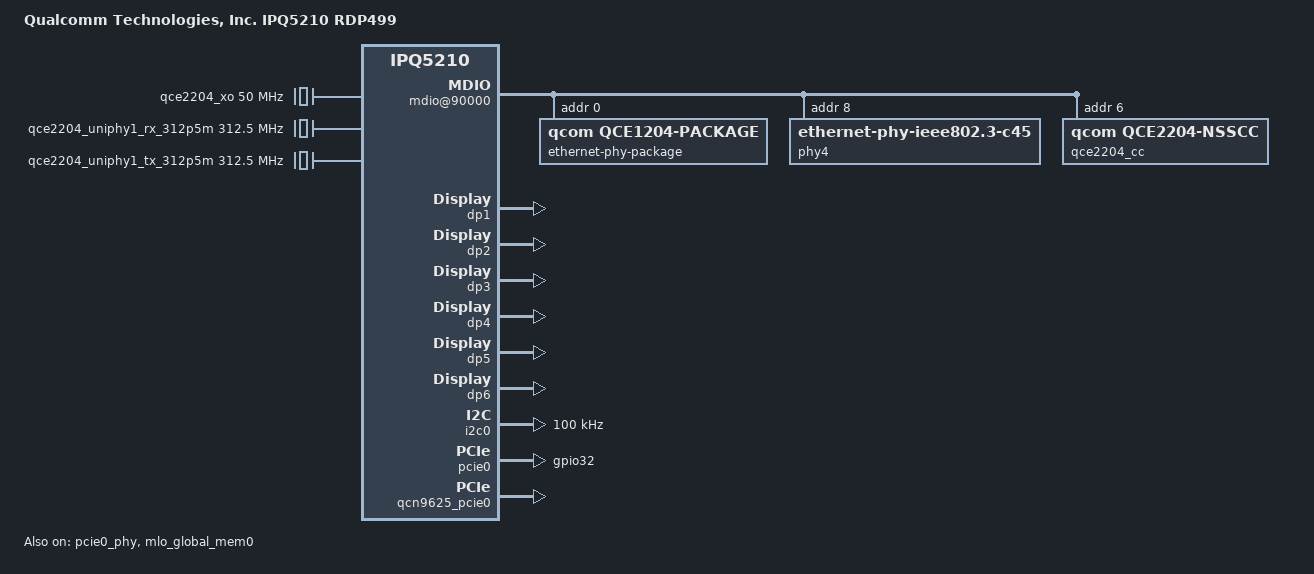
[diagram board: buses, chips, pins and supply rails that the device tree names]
// SPDX-License-Identifier: (GPL-2.0+ OR BSD-3-Clause)
/*
 * IPQ5210 RDP499 board device tree source
 *
 * Copyright (c) 2020-2021 The Linux Foundation. All rights reserved.
 * Copyright (c) Qualcomm Technologies, Inc. and/or its subsidiaries.
 */

/dts-v1/;

#include "ipq5210-rdp-common.dtsi"
#include <dt-bindings/clock/qcom,qce2204-nsscc.h>
#include <dt-bindings/reset/qcom,qce2204-nsscc.h>
#ifdef __IPQ_MEM_PROFILE_512_MB__
#include "ipq5210-512MB-default-memory.dtsi"
#else
#include "ipq5210-default-memory.dtsi"
#endif

/ {
	model = "Qualcomm Technologies, Inc. IPQ5210 RDP499";
	compatible = "qcom,ipq5210-rdp499", "qcom,ipq5210";

	aliases {
		serial0 = &uart1;
		ethernet0 = "/soc/dp1";
		ethernet1 = "/soc/dp2";
		ethernet2 = "/soc/dp3";
		ethernet3 = "/soc/dp4";
		ethernet4 = "/soc/dp5";
		ethernet5 = "/soc/dp6";
	};

	clocks {
		qce2204_xo: qce2204-xo {
			compatible = "fixed-clock";
			clock-frequency = <50000000>;
			#clock-cells = <0>;
		};

		qce2204_uniphy1_rx_312p5m: qce2204-uniphy1-rx-312p5m {
			compatible = "fixed-clock";
			clock-frequency = <312500000>;
			#clock-cells = <0>;
		};

		qce2204_uniphy1_tx_312p5m: qce2204-uniphy1-tx-312p5m {
			compatible = "fixed-clock";
			clock-frequency = <312500000>;
			#clock-cells = <0>;
		};
	};

	soc@0 {
		mdio@90000 {
			status = "okay";
			/* gpio reset for PHYs */
			phy-reset-gpio = <
				&tlmm 24 GPIO_ACTIVE_LOW
				&tlmm 45 GPIO_ACTIVE_LOW
			>;
			ethernet-phy-package@0 {
				compatible = "qcom,qce1204-package";
				#address-cells = <1>;
				#size-cells = <0>;
				reg = <0>;
				qcom,package-mode = "qusgmii";
				clocks =<&qce2204_cc QCE2204_NSSCC_SRDS1_SYS_CLK>,
					<&qce2204_cc QCE2204_NSSCC_MAC1_SRDS1_CH0_TX_CLK>,
					<&qce2204_cc QCE2204_NSSCC_MAC1_SRDS1_CH0_RX_CLK>,
					<&qce2204_cc QCE2204_NSSCC_MAC0_1_SRDS1_CH0_XGMII_TX_CLK>,
					<&qce2204_cc QCE2204_NSSCC_MAC0_1_SRDS1_CH0_XGMII_RX_CLK>,
					<&qce2204_cc QCE2204_NSSCC_MAC2_SRDS1_CH1_TX_CLK>,
					<&qce2204_cc QCE2204_NSSCC_MAC2_SRDS1_CH1_RX_CLK>,
					<&qce2204_cc QCE2204_NSSCC_MAC2_SRDS1_CH1_XGMII_TX_CLK>,
					<&qce2204_cc QCE2204_NSSCC_MAC2_SRDS1_CH1_XGMII_RX_CLK>,
					<&qce2204_cc QCE2204_NSSCC_MAC3_SRDS1_CH2_TX_CLK>,
					<&qce2204_cc QCE2204_NSSCC_MAC3_SRDS1_CH2_RX_CLK>,
					<&qce2204_cc QCE2204_NSSCC_MAC3_SRDS1_CH2_XGMII_TX_CLK>,
					<&qce2204_cc QCE2204_NSSCC_MAC3_SRDS1_CH2_XGMII_RX_CLK>,
					<&qce2204_cc QCE2204_NSSCC_MAC4_SRDS1_CH3_TX_CLK>,
					<&qce2204_cc QCE2204_NSSCC_MAC4_SRDS1_CH3_RX_CLK>,
					<&qce2204_cc QCE2204_NSSCC_MAC4_SRDS1_CH3_XGMII_TX_CLK>,
					<&qce2204_cc QCE2204_NSSCC_MAC4_SRDS1_CH3_XGMII_RX_CLK>,
					<&qce2204_cc QCE2204_NSSCC_AHB_CLK>,
					<&qce2204_uniphy1_rx_312p5m>,
					<&qce2204_uniphy1_tx_312p5m>;
				clock-names = "pcs_sys_clk",
					      "ch0_gmii_tx_clk",
					      "ch0_gmii_rx_clk",
					      "ch0_xgmii_tx_clk",
					      "ch0_xgmii_rx_clk",
					      "ch1_gmii_tx_clk",
					      "ch1_gmii_rx_clk",
					      "ch1_xgmii_tx_clk",
					      "ch1_xgmii_rx_clk",
					      "ch2_gmii_tx_clk",
					      "ch2_gmii_rx_clk",
					      "ch2_xgmii_tx_clk",
					      "ch2_xgmii_rx_clk",
					      "ch3_gmii_tx_clk",
					      "ch3_gmii_rx_clk",
					      "ch3_xgmii_tx_clk",
					      "ch3_xgmii_rx_clk",
					      "ahb_clk",
					      "tx_parent",
					      "rx_parent";
				resets = <&qce2204_cc QCE2204_NSSCC_SRDS1_SYS_ARES>,
					 <&qce2204_cc QCE2204_NSSCC_MAC1_SRDS1_CH0_TX_ARES>,
					 <&qce2204_cc QCE2204_NSSCC_MAC1_SRDS1_CH0_RX_ARES>,
					 <&qce2204_cc QCE2204_NSSCC_MAC0_1_SRDS1_CH0_XGMII_TX_ARES>,
					 <&qce2204_cc QCE2204_NSSCC_MAC0_1_SRDS1_CH0_XGMII_RX_ARES>,
					 <&qce2204_cc QCE2204_NSSCC_MAC2_SRDS1_CH1_TX_ARES>,
					 <&qce2204_cc QCE2204_NSSCC_MAC2_SRDS1_CH1_RX_ARES>,
					 <&qce2204_cc QCE2204_NSSCC_MAC2_SRDS1_CH1_XGMII_TX_ARES>,
					 <&qce2204_cc QCE2204_NSSCC_MAC2_SRDS1_CH1_XGMII_RX_ARES>,
					 <&qce2204_cc QCE2204_NSSCC_MAC3_SRDS1_CH2_TX_ARES>,
					 <&qce2204_cc QCE2204_NSSCC_MAC3_SRDS1_CH2_RX_ARES>,
					 <&qce2204_cc QCE2204_NSSCC_MAC3_SRDS1_CH2_XGMII_TX_ARES>,
					 <&qce2204_cc QCE2204_NSSCC_MAC3_SRDS1_CH2_XGMII_RX_ARES>,
					 <&qce2204_cc QCE2204_NSSCC_MAC4_SRDS1_CH3_TX_ARES>,
					 <&qce2204_cc QCE2204_NSSCC_MAC4_SRDS1_CH3_RX_ARES>,
					 <&qce2204_cc QCE2204_NSSCC_MAC4_SRDS1_CH3_XGMII_TX_ARES>,
					 <&qce2204_cc QCE2204_NSSCC_MAC4_SRDS1_CH3_XGMII_RX_ARES>,
					 <&qce2204_cc QCE2204_NSSCC_SRDS1_XPCS_ARES>;
				reset-names = "pcs_sys_reset",
					      "ch0_gmii_tx_reset",
					      "ch0_gmii_rx_reset",
					      "ch0_xgmii_tx_reset",
					      "ch0_xgmii_rx_reset",
					      "ch1_gmii_tx_reset",
					      "ch1_gmii_rx_reset",
					      "ch1_xgmii_tx_reset",
					      "ch1_xgmii_rx_reset",
					      "ch2_gmii_tx_reset",
					      "ch2_gmii_rx_reset",
					      "ch2_xgmii_tx_reset",
					      "ch2_xgmii_rx_reset",
						  "ch3_gmii_tx_reset",
					      "ch3_gmii_rx_reset",
					      "ch3_xgmii_tx_reset",
					      "ch3_xgmii_rx_reset",
					      "xpcs";

				phy0: ethernet-phy@0 {
					compatible = "ethernet-phy-ieee802.3-c45";
					reg = <0x0>;
					clocks = <&qce2204_cc QCE2204_NSSCC_MAC1_GEPHY0_TX_CLK>,
						 <&qce2204_cc QCE2204_NSSCC_MAC1_GEPHY0_RX_CLK>,
						 <&qce2204_cc QCE2204_NSSCC_GEPHY0_SYS_CLK>,
						 <&qce2204_cc QCE2204_NSSCC_MAC1_TX_CLK_SRC>,
						 <&qce2204_cc QCE2204_NSSCC_MAC1_RX_CLK_SRC>;
					clock-names = "tx_clk",
						      "rx_clk",
						      "sys_clk",
						      "tx_src_clk",
						      "rx_src_clk";
					resets = <&qce2204_cc QCE2204_NSSCC_MAC1_GEPHY0_TX_ARES>,
						 <&qce2204_cc QCE2204_NSSCC_MAC1_GEPHY0_RX_ARES>,
						 <&qce2204_cc QCE2204_NSSCC_GEPHY0_SYS_ARES>;
					reset-names = "tx_reset",
						      "rx_reset",
						      "sys_reset";
				};

				phy1: ethernet-phy@1 {
					compatible = "ethernet-phy-ieee802.3-c45";
					reg = <0x1>;
					clocks = <&qce2204_cc QCE2204_NSSCC_MAC2_GEPHY1_TX_CLK>,
						 <&qce2204_cc QCE2204_NSSCC_MAC2_GEPHY1_RX_CLK>,
						 <&qce2204_cc QCE2204_NSSCC_GEPHY1_SYS_CLK>,
						 <&qce2204_cc QCE2204_NSSCC_MAC2_TX_CLK_SRC>,
						 <&qce2204_cc QCE2204_NSSCC_MAC2_RX_CLK_SRC>;
					clock-names = "tx_clk",
						      "rx_clk",
						      "sys_clk",
						      "tx_src_clk",
						      "rx_src_clk";
					resets = <&qce2204_cc QCE2204_NSSCC_MAC2_GEPHY1_TX_ARES>,
						 <&qce2204_cc QCE2204_NSSCC_MAC2_GEPHY1_RX_ARES>,
						 <&qce2204_cc QCE2204_NSSCC_GEPHY1_SYS_ARES>;
					reset-names = "tx_reset",
						      "rx_reset",
						      "sys_reset";
				};

				phy2: ethernet-phy@2 {
					compatible = "ethernet-phy-ieee802.3-c45";
					reg = <0x2>;
					clocks = <&qce2204_cc QCE2204_NSSCC_MAC3_GEPHY2_TX_CLK>,
						 <&qce2204_cc QCE2204_NSSCC_MAC3_GEPHY2_RX_CLK>,
						 <&qce2204_cc QCE2204_NSSCC_GEPHY2_SYS_CLK>,
						 <&qce2204_cc QCE2204_NSSCC_MAC3_TX_CLK_SRC>,
						 <&qce2204_cc QCE2204_NSSCC_MAC3_RX_CLK_SRC>;
					clock-names = "tx_clk",
						      "rx_clk",
						      "sys_clk",
						      "tx_src_clk",
						      "rx_src_clk";
					resets = <&qce2204_cc QCE2204_NSSCC_MAC3_GEPHY2_TX_ARES>,
						 <&qce2204_cc QCE2204_NSSCC_MAC3_GEPHY2_RX_ARES>,
						 <&qce2204_cc QCE2204_NSSCC_GEPHY2_SYS_ARES>;
					reset-names = "tx_reset",
						      "rx_reset",
						      "sys_reset";
				};

				phy3: ethernet-phy@3 {
					compatible = "ethernet-phy-ieee802.3-c45";
					reg = <0x3>;
					clocks = <&qce2204_cc QCE2204_NSSCC_MAC4_GEPHY3_TX_CLK>,
						 <&qce2204_cc QCE2204_NSSCC_MAC4_GEPHY3_RX_CLK>,
						 <&qce2204_cc QCE2204_NSSCC_GEPHY3_SYS_CLK>,
						 <&qce2204_cc QCE2204_NSSCC_MAC4_TX_CLK_SRC>,
						 <&qce2204_cc QCE2204_NSSCC_MAC4_RX_CLK_SRC>;
					clock-names = "tx_clk",
						      "rx_clk",
						      "sys_clk",
						      "tx_src_clk",
						      "rx_src_clk";
					resets = <&qce2204_cc QCE2204_NSSCC_MAC4_GEPHY3_TX_ARES>,
						 <&qce2204_cc QCE2204_NSSCC_MAC4_GEPHY3_RX_ARES>,
						 <&qce2204_cc QCE2204_NSSCC_GEPHY3_SYS_ARES>;
					reset-names = "tx_reset",
						      "rx_reset",
						      "sys_reset";
				};
			};

			phy4: ethernet-phy@8 {
				reg = <8>;
				compatible ="ethernet-phy-ieee802.3-c45";
			};

			/* Clock controller */
			qce2204_cc: clock-controller@6 {
				compatible = "qcom,qce2204-nsscc";
				reg = <6>;
				#clock-cells = <1>;
				#reset-cells = <1>;
				clocks = <&qce2204_xo>,
					 <0>,
					 <0>,
					 <0>,
					 <0>,
					 <0>,
					 <0>,
					 <0>,
					 <&qce2204_uniphy1_rx_312p5m>,
					 <&qce2204_uniphy1_tx_312p5m>;
				clock-names = "xo",
					      "uniphy0_rx",
					      "uniphy0_tx",
					      "uniphy1_rx",
					      "uniphy1_tx",
					      "uniphy1_ppe_250m",
					      "uniphy0_rx_312p5m",
					      "uniphy0_tx_312p5m",
					      "uniphy1_rx_312p5m",
					      "uniphy1_tx_312p5m";
				assigned-clocks = <&qce2204_cc QCE2204_NSSCC_SRDS1_RX_MUX_SEL>,
						  <&qce2204_cc QCE2204_NSSCC_SRDS1_TX_MUX_SEL>,
						  <&qce2204_cc QCE2204_NSSCC_SRDS1_XGMII_RX_MUX_SEL>,
						  <&qce2204_cc QCE2204_NSSCC_SRDS1_XGMII_TX_MUX_SEL>;
				assigned-clock-parents = <&qce2204_cc QCE2204_NSSCC_MAC1_TX_DIV_CLK_SRC>,
							 <&qce2204_cc QCE2204_NSSCC_MAC1_RX_DIV_CLK_SRC>,
							 <&qce2204_cc QCE2204_NSSCC_MAC1_SRDS1_CH0_XGMII_RX_DIV_CLK_SRC>,
							 <&qce2204_cc QCE2204_NSSCC_MAC1_SRDS1_CH0_XGMII_TX_DIV_CLK_SRC>;
			};
		};

		ess-instance {
			num_devices = <0x1>;

			ess_switch: ess-switch@3a000000 {
				switch_lan_bmp = <0x3e>; /* lan port bitmap */
				switch_wan_bmp = <0x40>; /* wan port bitmap */
				switch_mac_mode = <0x15>; /* UQXGMII for qce1204 PHY */
				switch_mac_mode1 = <0xd>; /* USXGMII for Laguna PHY */
				switch_mac_mode2 = <0xff>;

				qcom,port_phyinfo {
					port@0 {
						port_id = <1>;
						phy_address = <0>;
						phy-handle = <&phy0>;
						phy-mode = "qusgmii";
						port_mac_sel = "QGMAC_PORT";
						ethernet-phy-ieee802.3-c45;
					};
					port@1 {
						port_id = <2>;
						phy_address = <1>;
						phy-handle = <&phy1>;
						phy-mode = "qusgmii";
						port_mac_sel = "QGMAC_PORT";
						ethernet-phy-ieee802.3-c45;
					};
					port@2 {
						port_id = <3>;
						phy_address = <2>;
						phy-handle = <&phy2>;
						phy-mode = "qusgmii";
						port_mac_sel = "QGMAC_PORT";
						ethernet-phy-ieee802.3-c45;
					};
					port@3 {
						port_id = <4>;
						phy_address = <3>;
						phy-handle = <&phy3>;
						phy-mode = "qusgmii";
						port_mac_sel = "QGMAC_PORT";
						ethernet-phy-ieee802.3-c45;
					};
					port@4 {
						port_id = <5>;
						phy_address = <8>;
						phy-handle = <&phy4>;
						phy-mode = "usxgmii";
						ethernet-phy-ieee802.3-c45;
					};
					port@5 {
						port_id = <6>;
						forced-speed = <10000>;
						forced-duplex = <1>;
						fixed-link {
							speed = <10000>;
							full-duplex;
							pause;
						};
					};
				};
			};
		};

		dp1 {
			device_type = "network";
			compatible = "qcom,nss-dp";
			qcom,id = <1>;
			reg = <0x3a001000 0x200>;
			qcom,mactype = <0>;
			local-mac-address = [000000000000];
			qcom,ppe-offload-disabled = <0>;
		};

		dp2 {
			device_type = "network";
			compatible = "qcom,nss-dp";
			qcom,id = <2>;
			reg = <0x3a001200 0x200>;
			qcom,mactype = <0>;
			local-mac-address = [000000000000];
			qcom,ppe-offload-disabled = <0>;
		};


		dp3 {
			device_type = "network";
			compatible = "qcom,nss-dp";
			qcom,id = <3>;
			reg = <0x3a001400 0x200>;
			qcom,mactype = <0>;
			local-mac-address = [000000000000];
			qcom,ppe-offload-disabled = <0>;
		};

		dp4 {
			device_type = "network";
			compatible = "qcom,nss-dp";
			qcom,id = <4>;
			reg = <0x3a001600 0x200>;
			qcom,mactype = <0>;
			local-mac-address = [000000000000];
			qcom,ppe-offload-disabled = <0>;
		};

		dp5 {
			device_type = "network";
			compatible = "qcom,nss-dp";
			qcom,id = <5>;
			reg = <0x3a504000 0x4000>;
			qcom,mactype = <1>;
			local-mac-address = [000000000000];
			qcom,ppe-offload-disabled = <0>;
			pinctrl-0 = <&pps_state>;
			pinctrl-names = "default";
			interrupts = <GIC_SPI 359 IRQ_TYPE_EDGE_RISING>;
			interrupt-names = "pps_in";
			clocks = <&nsscc NSS_CC_XGMAC1_PTP_REF_CLK>;
			clock-names = "ptp";
		};

		dp6 {
			device_type = "network";
			compatible = "qcom,nss-dp";
			qcom,id = <6>;
			reg = <0x3a508000 0x4000>;
			qcom,mactype = <1>;
			local-mac-address = [000000000000];
			qcom,ppe-offload-disabled = <0>;
			qcom,gem_port = <1>;
			clocks = <&nsscc NSS_CC_XGMAC2_PTP_REF_CLK>;
			clock-names = "ptp";
		};
	};
};

&i2c0 {
	clock-frequency = <100000>;

	status = "okay";
};

&tlmm {
	audio_pins_pri: audio_pinmux_pri {
		mux_1 {
			pins = "gpio34";
			function = "audio_pri_d0";
			drive-strength = <16>;
			bias-pull-down;
		};

		mux_2 {
		    pins = "gpio35";
		    function = "audio_pri_d1";
		    drive-strength = <8>;
		    bias-pull-down;
		};

		mux_3 {
		    pins = "gpio36";
		    function = "audio_pri_fsync";
		    drive-strength = <8>;
		    bias-pull-down;
		};

		mux_4 {
		    pins = "gpio37";
		    function = "audio_pri_pclk";
		    drive-strength = <8>;
		    bias-pull-down;
		};
	};

	pcie0_default_state: pcie0-default-state {
		pins = "gpio32";
		function = "gpio";
		drive-strength = <6>;
		bias-pull-down;
		output-low;
	};

	se4_spi_pins: se4-spi-pins {
		spi_clk {
			pins = "gpio40";
			function = "qup_se4_l2";
			drive-strength = <4>;
			bias-pull-down;
		};
		spi_cs {
			pins = "gpio41";
			function = "qup_se4_l3";
			drive-strength = <4>;
			bias-pull-up;
		};
		spi_miso {
			pins = "gpio42";
			function = "qup_se4_l0";
			drive-strength = <16>;
			bias-pull-down;
		};
		spi_mosi {
			pins = "gpio43";
			function = "qup_se4_l1";
			drive-strength = <16>;
			bias-pull-down;
		};
	};
};

&spi1 {
	compatible = "qcom,geni-spi";
	pinctrl-0 = <&se4_spi_pins>;
	pinctrl-names = "default";
	status = "disabled";

	spidev1: spi@0 {
		compatible = "qti,spidev";
		reg = <0>;
		spi-max-frequency = <9600000>;
	};
};

&pcm {
	pinctrl-0 = <&audio_pins_pri>;
	pinctrl-names = "primary";
	status = "disabled";
};

&pcie0_phy {
	status = "okay";
};

&pcie0 {
	pinctrl-0 = <&pcie0_default_state>;
	perst-gpio = <&tlmm 32 GPIO_ACTIVE_LOW>;
	status = "okay";

	pcie0_rp {
		reg = <0 0 0 0 0>;
		qcom,mhi@0 {
			reg = <0 0 0 0 0>;
			memory-region = <&qcn9625_pcie0>, <&mlo_global_mem0>;
			memory-region-names = "host-ddr-mem", "mlo-global-mem";
			qcom,board_id = <0x5010>;

			ports {
				#address-cells = <1>;
				#size-cells = <0>;

				port@0 {
					reg = <0>;
				};

				port@1 {
					reg = <1>;
				};
			};

		};
	};
};

&qcn9625_pcie0 {
	status = "okay";
};

&mlo_global_mem0 {
	status = "okay";
};

&ess_uniphy {
	assigned-clocks = <&nsscc NSS_CC_PORT4_RX_CLK_SRC>,
			  <&nsscc NSS_CC_PORT4_TX_CLK_SRC>;
	assigned-clock-parents = <&ess_uniphy 0>,
				 <&ess_uniphy 1>;
};
